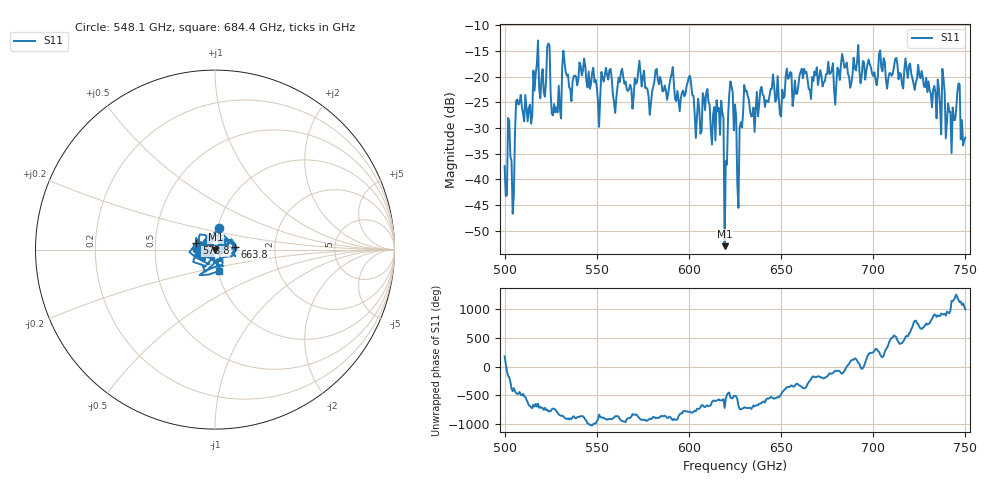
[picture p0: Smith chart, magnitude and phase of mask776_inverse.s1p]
!Created with skrf (http://scikit-rf.org).
# GHz S MA R 50.0
!freq magS11 angS11
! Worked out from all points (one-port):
!   401 points, 500 GHz to 750 GHz, reference 50 ohm
!   lowest |S11| = -53.0 dB at 619.4 GHz (marker M1), VSWR 1.00, Z = 50.2 - j0.00335 ohm
!   |S11| at or under -10 dB: start of sweep to end of sweep
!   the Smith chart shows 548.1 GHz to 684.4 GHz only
!   S11 on the Smith chart (normalised r, x): 548.1 GHz: 1.01, +0.25; 573.8 GHz: 0.81, +0.06; 663.8 GHz: 1.25, +0.03; 684.4 GHz: 1.02, -0.25
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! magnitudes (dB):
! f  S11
! 500 GHz  -37.4
! 502.5 GHz  -28.5
! 504.4 GHz  -46.7
! 507.5 GHz  -25.5
! 513.8 GHz  -25.4
! 516.9 GHz  -19.4
! 523.8 GHz  -13.5
! 526.9 GHz  -25.3
! 531.2 GHz  -18.2
! 548.1 GHz  -18.3
! 562.5 GHz  -21.1
! 573.8 GHz  -19.2
! 593.8 GHz  -22.8
! 616.2 GHz  -26.1
! 619.4 GHz  -53.0
! 622.5 GHz  -20.9
! 625 GHz  -25.4
! 627.5 GHz  -29.9
! 631.2 GHz  -22.7
! 634.4 GHz  -27.6
! 656.2 GHz  -25.7
! 663.8 GHz  -19.1
! 684.4 GHz  -18.3
! 687.5 GHz  -22.2
! 718.8 GHz  -20.2
! 743.1 GHz  -26.0
! 745.6 GHz  -23.0
! 750 GHz  -31.9
